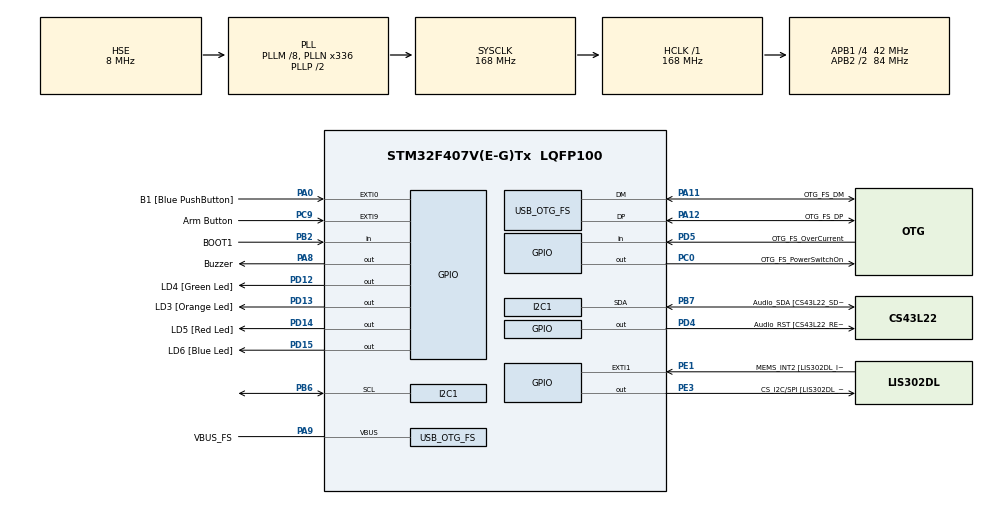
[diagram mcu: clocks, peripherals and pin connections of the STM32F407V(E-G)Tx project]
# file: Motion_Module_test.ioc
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Mcu.Family=STM32F4
Mcu.Name=STM32F407V(E-G)Tx
Mcu.Package=LQFP100
NVIC.EXTI9_5_IRQn=true\:0\:0\:false\:false\:true\:true\:true\:true
NVIC.I2C1_EV_IRQn=true\:0\:0\:false\:false\:true\:true\:true\:true
NVIC.OTG_FS_IRQn=true\:0\:0\:false\:false\:true\:true\:true\:true
NVIC.PriorityGroup=NVIC_PRIORITYGROUP_0
NVIC.TIM2_IRQn=true\:0\:0\:false\:false\:true\:true\:true\:true
PA0-WKUP.GPIO_Label=B1 [Blue PushButton]
PA0-WKUP.GPIO_ModeDefaultEXTI=GPIO_MODE_EVT_RISING
PA0-WKUP.GPIO_PuPd=GPIO_NOPULL
PA0-WKUP.Signal=GPXTI0
PA10.GPIO_Label=OTG_FS_ID
PA10.GPIO_Mode=GPIO_MODE_AF_PP
PA10.GPIO_PuPd=GPIO_NOPULL
PA10.GPIO_Speed=GPIO_SPEED_FREQ_LOW
PA10.Signal=USB_OTG_FS_ID
PA11.GPIO_Label=OTG_FS_DM
PA11.GPIO_Mode=GPIO_MODE_AF_PP
PA11.GPIO_PuPd=GPIO_NOPULL
PA11.GPIO_Speed=GPIO_SPEED_FREQ_LOW
PA11.Mode=Host_Only
PA11.Signal=USB_OTG_FS_DM
PA12.GPIO_Label=OTG_FS_DP
PA12.GPIO_Mode=GPIO_MODE_AF_PP
PA12.GPIO_PuPd=GPIO_NOPULL
PA12.GPIO_Speed=GPIO_SPEED_FREQ_LOW
PA12.Mode=Host_Only
PA12.Signal=USB_OTG_FS_DP
PA13.GPIO_Label=SWDIO
PA13.Mode=Serial_Wire
PA13.Signal=SYS_JTMS-SWDIO
PA14.GPIO_Label=SWCLK
PA14.Mode=Serial_Wire
PA14.Signal=SYS_JTCK-SWCLK
PA4.GPIO_Label=I2S3_WS [CS43L22_LRCK]
PA4.GPIO_Mode=GPIO_MODE_AF_PP
PA4.GPIO_PuPd=GPIO_NOPULL
PA4.GPIO_Speed=GPIO_SPEED_FREQ_LOW
PA4.Signal=I2S3_WS
PA5.GPIO_Label=SPI1_SCK [LIS302DL_SCL/SPC]
PA5.GPIO_Mode=GPIO_MODE_AF_PP
PA5.GPIO_PuPd=GPIO_NOPULL
PA5.GPIO_Speed=GPIO_SPEED_FREQ_LOW
PA5.Signal=SPI1_SCK
PA6.GPIO_Label=SPI1_MISO [LIS302DL_SDO]
PA6.GPIO_Mode=GPIO_MODE_AF_PP
PA6.GPIO_PuPd=GPIO_NOPULL
PA6.GPIO_Speed=GPIO_SPEED_FREQ_LOW
PA6.Signal=SPI1_MISO
PA7.GPIO_Label=SPI1_MOSI [LIS302DL_SDA/SDI/SDO]
PA7.GPIO_Mode=GPIO_MODE_AF_PP
PA7.GPIO_PuPd=GPIO_NOPULL
PA7.GPIO_Speed=GPIO_SPEED_FREQ_LOW
PA7.Signal=SPI1_MOSI
PA8.GPIO_Label=Buzzer
PA8.Signal=GPIO_Output
PA9.GPIO_Label=VBUS_FS
PA9.GPIO_Mode=GPIO_MODE_INPUT
PA9.GPIO_PuPd=GPIO_NOPULL
PA9.Mode=Activate_VBUS
PA9.Signal=USB_OTG_FS_VBUS
PB10.GPIO_Label=CLK_IN [MP45DT02_CLK]
PB10.GPIO_Mode=GPIO_MODE_AF_PP
PB10.GPIO_PuPd=GPIO_NOPULL
PB10.GPIO_Speed=GPIO_SPEED_FREQ_LOW
PB10.Signal=I2S2_CK
PB2.GPIO_Label=BOOT1
PB2.GPIO_Mode=GPIO_MODE_INPUT
PB2.GPIO_PuPd=GPIO_NOPULL
PB2.Signal=GPIO_Input
PB3.GPIO_Label=SWO
PB3.Signal=SYS_JTDO-SWO
PB6.Mode=I2C
PB6.Signal=I2C1_SCL
PB7.GPIO_Label=Audio_SDA [CS43L22_SDA]
PB7.GPIO_Mode=GPIO_MODE_AF_OD
PB7.GPIO_Pu=GPIO_PULLUP
PB7.GPIO_Speed=GPIO_SPEED_FREQ_LOW
PB7.Mode=I2C
PB7.Signal=I2C1_SDA
PC0.GPIO_Label=OTG_FS_PowerSwitchOn
PC0.GPIO_PuPd=GPIO_NOPULL
PC0.GPIO_Speed=GPIO_SPEED_FREQ_LOW
PC0.PinState=GPIO_PIN_SET
PC0.Signal=GPIO_Output
PC10.GPIO_Label=I2S3_SCK [CS43L22_SCLK]
PC10.GPIO_Mode=GPIO_MODE_AF_PP
PC10.GPIO_PuPd=GPIO_NOPULL
PC10.GPIO_Speed=GPIO_SPEED_FREQ_LOW
PC10.Signal=I2S3_CK
PC12.GPIO_Label=I2S3_SD [CS43L22_SDIN]
PC12.GPIO_Mode=GPIO_MODE_AF_PP
PC12.GPIO_PuPd=GPIO_NOPULL
PC12.GPIO_Speed=GPIO_SPEED_FREQ_LOW
PC12.Signal=I2S3_SD
PC14-OSC32_IN.GPIO_Label=PC14-OSC32_IN
PC14-OSC32_IN.Mode=LSE-External-Oscillator
PC14-OSC32_IN.Signal=RCC_OSC32_IN
PC15-OSC32_OUT.GPIO_Label=PC15-OSC32_OUT
PC15-OSC32_OUT.Mode=LSE-External-Oscillator
PC15-OSC32_OUT.Signal=RCC_OSC32_OUT
PC3.GPIO_Label=PDM_OUT [MP45DT02_DOUT]
PC3.GPIO_Mode=GPIO_MODE_AF_PP
PC3.GPIO_PuPd=GPIO_NOPULL
PC3.GPIO_Speed=GPIO_SPEED_FREQ_LOW
PC3.Signal=I2S2_SD
PC7.GPIO_Label=I2S3_MCK [CS43L22_MCLK]
PC7.GPIO_Mode=GPIO_MODE_AF_PP
PC7.GPIO_PuPd=GPIO_NOPULL
PC7.GPIO_Speed=GPIO_SPEED_FREQ_LOW
PC7.Signal=I2S3_MCK
PC9.GPIO_Label=Arm Button
PC9.Signal=GPXTI9
PD12.GPIO_Label=LD4 [Green Led]
PD12.GPIO_PuPd=GPIO_NOPULL
PD12.GPIO_Speed=GPIO_SPEED_FREQ_LOW
PD12.Signal=GPIO_Output
PD13.GPIO_Label=LD3 [Orange Led]
PD13.GPIO_PuPd=GPIO_NOPULL
PD13.GPIO_Speed=GPIO_SPEED_FREQ_LOW
PD13.Signal=GPIO_Output
PD14.GPIO_Label=LD5 [Red Led]
PD14.GPIO_PuPd=GPIO_NOPULL
PD14.GPIO_Speed=GPIO_SPEED_FREQ_LOW
PD14.Signal=GPIO_Output
PD15.GPIO_Label=LD6 [Blue Led]
PD15.GPIO_PuPd=GPIO_NOPULL
PD15.GPIO_Speed=GPIO_SPEED_FREQ_LOW
PD15.Signal=GPIO_Output
PD4.GPIO_Label=Audio_RST [CS43L22_RESET]
PD4.GPIO_PuPd=GPIO_NOPULL
PD4.GPIO_Speed=GPIO_SPEED_FREQ_LOW
PD4.Signal=GPIO_Output
PD5.GPIO_Label=OTG_FS_OverCurrent
PD5.GPIO_Mode=GPIO_MODE_INPUT
PD5.GPIO_PuPd=GPIO_NOPULL
PD5.Signal=GPIO_Input
PE1.GPIO_Label=MEMS_INT2 [LIS302DL_INT2]
PE1.GPIO_ModeDefaultEXTI=GPIO_MODE_EVT_RISING
PE1.GPIO_PuPd=GPIO_NOPULL
PE1.Signal=GPXTI1
PE3.GPIO_Label=CS_I2C/SPI [LIS302DL_CS_I2C/SPI]
PE3.GPIO_PuPd=GPIO_NOPULL
PE3.GPIO_Speed=GPIO_SPEED_FREQ_LOW
PE3.Signal=GPIO_Output
PH0-OSC_IN.GPIO_Label=PH0-OSC_IN
PH0-OSC_IN.Mode=HSE-External-Oscillator
PH0-OSC_IN.Signal=RCC_OSC_IN
PH1-OSC_OUT.GPIO_Label=PH1-OSC_OUT
PH1-OSC_OUT.Mode=HSE-External-Oscillator
PH1-OSC_OUT.Signal=RCC_OSC_OUT
ProjectManager.HeapSize=0x200
ProjectManager.StackSize=0x400
ProjectManager.TargetToolchain=STM32CubeIDE
RCC.48MHZClocksFreq_Value=48000000
RCC.AHBFreq_Value=168000000
RCC.APB1CLKDivider=RCC_HCLK_DIV4
RCC.APB1Freq_Value=42000000
RCC.APB1TimFreq_Value=84000000
RCC.APB2CLKDivider=RCC_HCLK_DIV2
RCC.APB2Freq_Value=84000000
RCC.APB2TimFreq_Value=168000000
RCC.CortexFreq_Value=168000000
RCC.HCLKFreq_Value=168000000
RCC.HSE_VALUE=8000000
RCC.HSI_VALUE=16000000
RCC.PLLM=8
RCC.PLLN=336
RCC.PLLQ=7
RCC.SYSCLKFreq_VALUE=168000000
RCC.SYSCLKSource=RCC_SYSCLKSOURCE_PLLCLK
RCC.VCOOutputFreq_Value=336000000
TIM2.AutoReloadPreload=TIM_AUTORELOAD_PRELOAD_DISABLE
TIM2.Period=7200
TIM2.Prescaler=1000
USB_HOST.BSP.number=1
USB_HOST.USBH_HandleTypeDef-CDC_FS=hUsbHostFS
USB_HOST.VirtualModeFS=Cdc
USB_HOST0.BSP.STBoard=false
USB_HOST0.BSP.api=Unknown
USB_HOST0.BSP.instance=PC0
USB_HOST0.BSP.ip=GPIO
USB_HOST0.BSP.mode=Output
USB_HOST0.BSP.name=Drive_VBUS_FS
USB_HOST0.BSP.solution=PC0
USB_OTG_FS.VirtualMode=Host_Only
USB_OTG_FS.phy_itface=HCD_PHY_EMBEDDED
VP_TIM2_VS_ClockSourceINT.Mode=Internal
VP_USB_HOST_VS_USB_HOST_CDC_FS.Mode=CDC_FS
board=STM32F407G-DISC1

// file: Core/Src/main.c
/* USER CODE BEGIN Header */
/**
  ******************************************************************************
  * @file           : main.c
  * @brief          : Main program body
  ******************************************************************************
  * @attention
  *
  * Copyright (c) 2023 STMicroelectronics.
  * All rights reserved.
  *
  * This software is licensed under terms that can be found in the LICENSE file
  * in the root directory of this software component.
  * If no LICENSE file comes with this software, it is provided AS-IS.
  *
  ******************************************************************************
  */
/* USER CODE END Header */
#include "main.h"
#include "usb_host.h"

/* USER CODE BEGIN Includes */
#include "TJ_MPU6050.h"
/* USER CODE END Includes */

/* USER CODE BEGIN PD */
#define BUFFSIZE 7
/* USER CODE END PD */

I2C_HandleTypeDef hi2c1;

TIM_HandleTypeDef htim2;

/* USER CODE BEGIN PV */
volatile int gArmFlag=0;
float gXAccelData;
float gYAccelData;
float gZAccelData;
float gTempXAccelData;
float gTempYAccelData;
float gTempZAccelData;
/* USER CODE END PV */

void SystemClock_Config(void);
static void MX_GPIO_Init(void);
static void MX_I2C1_Init(void);
static void MX_TIM2_Init(void);
void MX_USB_HOST_Process(void);

/* USER CODE BEGIN PFP */
void getAccelAverage(void);
int AccelDataEqual(void);
/* USER CODE END PFP */

/* USER CODE BEGIN 0 */
RawData_Def myAccelRaw, myGyroRaw;
ScaledData_Def myAccelScaled, myGyroScaled;
/* USER CODE END 0 */

int main(void)
{
  /* USER CODE BEGIN 1 */
	MPU_ConfigTypeDef myMpuConfig;
  /* USER CODE END 1 */

  /* MCU Configuration--------------------------------------------------------*/

  /* Reset of all peripherals, Initializes the Flash interface and the Systick. */
  HAL_Init();

  /* Configure the system clock */
  SystemClock_Config();

  /* Initialize all configured peripherals */
  MX_GPIO_Init();
  MX_I2C1_Init();
  MX_USB_HOST_Init();
  MX_TIM2_Init();
  /* USER CODE BEGIN 2 */
  HAL_TIM_Base_Start_IT(&htim2);
	MPU6050_Init(&hi2c1);
	//2. Configure Accel and Gyro parameters
	myMpuConfig.Accel_Full_Scale = AFS_SEL_2g;
	myMpuConfig.ClockSource = Internal_8MHz;
	myMpuConfig.CONFIG_DLPF = DLPF_184A_188G_Hz;
	myMpuConfig.Gyro_Full_Scale = FS_SEL_500;
	myMpuConfig.Sleep_Mode_Bit = 0;  //1: sleep mode, 0: normal mode
	MPU6050_Config(&myMpuConfig);
  /* USER CODE END 2 */

  /* Infinite loop */
	while(1){
  /* USER CODE BEGIN WHILE */
	  // getAccelAverage();
	  if(gArmFlag==1){
	    getAccelAverage();
	    	if(!AccelDataEqual()){
    		HAL_GPIO_TogglePin(GPIOD, LD4_Pin);
	    		gArmFlag=0;
	    		gXAccelData=0;
	    		gYAccelData=0;
	    		gZAccelData=0;
	    		gTempXAccelData=0;
	    		gTempYAccelData=0;
	    		gTempZAccelData=0;
	    		HAL_Delay(5000);
	    		HAL_GPIO_TogglePin(GPIOD, LD4_Pin);
	    	}
	}
    /* USER CODE END WHILE */
   // MX_USB_HOST_Process();

    /* USER CODE BEGIN 3 */
//  }
  /* USER CODE END 3 */
}
}

void SystemClock_Config(void)
{
  RCC_OscInitTypeDef RCC_OscInitStruct = {0};
  RCC_ClkInitTypeDef RCC_ClkInitStruct = {0};

  /** Configure the main internal regulator output voltage
  */
  __HAL_RCC_PWR_CLK_ENABLE();
  __HAL_PWR_VOLTAGESCALING_CONFIG(PWR_REGULATOR_VOLTAGE_SCALE1);

  /** Initializes the RCC Oscillators according to the specified parameters
  * in the RCC_OscInitTypeDef structure.
  */
  RCC_OscInitStruct.OscillatorType = RCC_OSCILLATORTYPE_HSE;
  RCC_OscInitStruct.HSEState = RCC_HSE_ON;
  RCC_OscInitStruct.PLL.PLLState = RCC_PLL_ON;
  RCC_OscInitStruct.PLL.PLLSource = RCC_PLLSOURCE_HSE;
  RCC_OscInitStruct.PLL.PLLM = 8;
  RCC_OscInitStruct.PLL.PLLN = 336;
  RCC_OscInitStruct.PLL.PLLP = RCC_PLLP_DIV2;
  RCC_OscInitStruct.PLL.PLLQ = 7;
  if (HAL_RCC_OscConfig(&RCC_OscInitStruct) != HAL_OK)
  {
    Error_Handler();
  }

  /** Initializes the CPU, AHB and APB buses clocks
  */
  RCC_ClkInitStruct.ClockType = RCC_CLOCKTYPE_HCLK|RCC_CLOCKTYPE_SYSCLK
                              |RCC_CLOCKTYPE_PCLK1|RCC_CLOCKTYPE_PCLK2;
  RCC_ClkInitStruct.SYSCLKSource = RCC_SYSCLKSOURCE_PLLCLK;
  RCC_ClkInitStruct.AHBCLKDivider = RCC_SYSCLK_DIV1;
  RCC_ClkInitStruct.APB1CLKDivider = RCC_HCLK_DIV4;
  RCC_ClkInitStruct.APB2CLKDivider = RCC_HCLK_DIV2;

  if (HAL_RCC_ClockConfig(&RCC_ClkInitStruct, FLASH_LATENCY_5) != HAL_OK)
  {
    Error_Handler();
  }
}

static void MX_I2C1_Init(void)
{

  hi2c1.Instance = I2C1;
  hi2c1.Init.ClockSpeed = 100000;
  hi2c1.Init.DutyCycle = I2C_DUTYCYCLE_2;
  hi2c1.Init.OwnAddress1 = 0;
  hi2c1.Init.AddressingMode = I2C_ADDRESSINGMODE_7BIT;
  hi2c1.Init.DualAddressMode = I2C_DUALADDRESS_DISABLE;
  hi2c1.Init.OwnAddress2 = 0;
  hi2c1.Init.GeneralCallMode = I2C_GENERALCALL_DISABLE;
  hi2c1.Init.NoStretchMode = I2C_NOSTRETCH_DISABLE;
  if (HAL_I2C_Init(&hi2c1) != HAL_OK)
  {
    Error_Handler();
  }

}

static void MX_TIM2_Init(void)
{

  TIM_ClockConfigTypeDef sClockSourceConfig = {0};
  TIM_MasterConfigTypeDef sMasterConfig = {0};

  htim2.Instance = TIM2;
  htim2.Init.Prescaler = 1000;
  htim2.Init.CounterMode = TIM_COUNTERMODE_UP;
  htim2.Init.Period = 7200;
  htim2.Init.ClockDivision = TIM_CLOCKDIVISION_DIV1;
  htim2.Init.AutoReloadPreload = TIM_AUTORELOAD_PRELOAD_DISABLE;
  if (HAL_TIM_Base_Init(&htim2) != HAL_OK)
  {
    Error_Handler();
  }
  sClockSourceConfig.ClockSource = TIM_CLOCKSOURCE_INTERNAL;
  if (HAL_TIM_ConfigClockSource(&htim2, &sClockSourceConfig) != HAL_OK)
  {
    Error_Handler();
  }
  sMasterConfig.MasterOutputTrigger = TIM_TRGO_RESET;
  sMasterConfig.MasterSlaveMode = TIM_MASTERSLAVEMODE_DISABLE;
  if (HAL_TIMEx_MasterConfigSynchronization(&htim2, &sMasterConfig) != HAL_OK)
  {
    Error_Handler();
  }

}

static void MX_GPIO_Init(void)
{
  GPIO_InitTypeDef GPIO_InitStruct = {0};

  /* GPIO Ports Clock Enable */
  __HAL_RCC_GPIOE_CLK_ENABLE();
  __HAL_RCC_GPIOC_CLK_ENABLE();
  __HAL_RCC_GPIOH_CLK_ENABLE();
  __HAL_RCC_GPIOA_CLK_ENABLE();
  __HAL_RCC_GPIOB_CLK_ENABLE();
  __HAL_RCC_GPIOD_CLK_ENABLE();

  /*Configure GPIO pin Output Level */
  HAL_GPIO_WritePin(CS_I2C_SPI_GPIO_Port, CS_I2C_SPI_Pin, GPIO_PIN_RESET);

  /*Configure GPIO pin Output Level */
  HAL_GPIO_WritePin(OTG_FS_PowerSwitchOn_GPIO_Port, OTG_FS_PowerSwitchOn_Pin, GPIO_PIN_SET);

  /*Configure GPIO pin Output Level */
  HAL_GPIO_WritePin(GPIOD, LD4_Pin|LD3_Pin|LD5_Pin|LD6_Pin
                          |Audio_RST_Pin, GPIO_PIN_RESET);

  /*Configure GPIO pin Output Level */
  HAL_GPIO_WritePin(Buzzer_GPIO_Port, Buzzer_Pin, GPIO_PIN_RESET);

  /*Configure GPIO pin : CS_I2C_SPI_Pin */
  GPIO_InitStruct.Pin = CS_I2C_SPI_Pin;
  GPIO_InitStruct.Mode = GPIO_MODE_OUTPUT_PP;
  GPIO_InitStruct.Pull = GPIO_NOPULL;
  GPIO_InitStruct.Speed = GPIO_SPEED_FREQ_LOW;
  HAL_GPIO_Init(CS_I2C_SPI_GPIO_Port, &GPIO_InitStruct);

  /*Configure GPIO pin : OTG_FS_PowerSwitchOn_Pin */
  GPIO_InitStruct.Pin = OTG_FS_PowerSwitchOn_Pin;
  GPIO_InitStruct.Mode = GPIO_MODE_OUTPUT_PP;
  GPIO_InitStruct.Pull = GPIO_NOPULL;
  GPIO_InitStruct.Speed = GPIO_SPEED_FREQ_LOW;
  HAL_GPIO_Init(OTG_FS_PowerSwitchOn_GPIO_Port, &GPIO_InitStruct);

  /*Configure GPIO pin : PDM_OUT_Pin */
  GPIO_InitStruct.Pin = PDM_OUT_Pin;
  GPIO_InitStruct.Mode = GPIO_MODE_AF_PP;
  GPIO_InitStruct.Pull = GPIO_NOPULL;
  GPIO_InitStruct.Speed = GPIO_SPEED_FREQ_LOW;
  GPIO_InitStruct.Alternate = GPIO_AF5_SPI2;
  HAL_GPIO_Init(PDM_OUT_GPIO_Port, &GPIO_InitStruct);

  /*Configure GPIO pin : B1_Pin */
  GPIO_InitStruct.Pin = B1_Pin;
  GPIO_InitStruct.Mode = GPIO_MODE_EVT_RISING;
  GPIO_InitStruct.Pull = GPIO_NOPULL;
  HAL_GPIO_Init(B1_GPIO_Port, &GPIO_InitStruct);

  /*Configure GPIO pin : I2S3_WS_Pin */
  GPIO_InitStruct.Pin = I2S3_WS_Pin;
  GPIO_InitStruct.Mode = GPIO_MODE_AF_PP;
  GPIO_InitStruct.Pull = GPIO_NOPULL;
  GPIO_InitStruct.Speed = GPIO_SPEED_FREQ_LOW;
  GPIO_InitStruct.Alternate = GPIO_AF6_SPI3;
  HAL_GPIO_Init(I2S3_WS_GPIO_Port, &GPIO_InitStruct);

  /*Configure GPIO pins : SPI1_SCK_Pin SPI1_MISO_Pin SPI1_MOSI_Pin */
  GPIO_InitStruct.Pin = SPI1_SCK_Pin|SPI1_MISO_Pin|SPI1_MOSI_Pin;
  GPIO_InitStruct.Mode = GPIO_MODE_AF_PP;
  GPIO_InitStruct.Pull = GPIO_NOPULL;
  GPIO_InitStruct.Speed = GPIO_SPEED_FREQ_LOW;
  GPIO_InitStruct.Alternate = GPIO_AF5_SPI1;
  HAL_GPIO_Init(GPIOA, &GPIO_InitStruct);

  /*Configure GPIO pin : BOOT1_Pin */
  GPIO_InitStruct.Pin = BOOT1_Pin;
  GPIO_InitStruct.Mode = GPIO_MODE_INPUT;
  GPIO_InitStruct.Pull = GPIO_NOPULL;
  HAL_GPIO_Init(BOOT1_GPIO_Port, &GPIO_InitStruct);

  /*Configure GPIO pin : CLK_IN_Pin */
  GPIO_InitStruct.Pin = CLK_IN_Pin;
  GPIO_InitStruct.Mode = GPIO_MODE_AF_PP;
  GPIO_InitStruct.Pull = GPIO_NOPULL;
  GPIO_InitStruct.Speed = GPIO_SPEED_FREQ_LOW;
  GPIO_InitStruct.Alternate = GPIO_AF5_SPI2;
  HAL_GPIO_Init(CLK_IN_GPIO_Port, &GPIO_InitStruct);

  /*Configure GPIO pins : LD4_Pin LD3_Pin LD5_Pin LD6_Pin
                           Audio_RST_Pin */
  GPIO_InitStruct.Pin = LD4_Pin|LD3_Pin|LD5_Pin|LD6_Pin
                          |Audio_RST_Pin;
  GPIO_InitStruct.Mode = GPIO_MODE_OUTPUT_PP;
  GPIO_InitStruct.Pull = GPIO_NOPULL;
  GPIO_InitStruct.Speed = GPIO_SPEED_FREQ_LOW;
  HAL_GPIO_Init(GPIOD, &GPIO_InitStruct);

  /*Configure GPIO pins : I2S3_MCK_Pin I2S3_SCK_Pin I2S3_SD_Pin */
  GPIO_InitStruct.Pin = I2S3_MCK_Pin|I2S3_SCK_Pin|I2S3_SD_Pin;
  GPIO_InitStruct.Mode = GPIO_MODE_AF_PP;
  GPIO_InitStruct.Pull = GPIO_NOPULL;
  GPIO_InitStruct.Speed = GPIO_SPEED_FREQ_LOW;
  GPIO_InitStruct.Alternate = GPIO_AF6_SPI3;
  HAL_GPIO_Init(GPIOC, &GPIO_InitStruct);

  /*Configure GPIO pin : Arm_Button_Pin */
  GPIO_InitStruct.Pin = Arm_Button_Pin;
  GPIO_InitStruct.Mode = GPIO_MODE_IT_RISING;
  GPIO_InitStruct.Pull = GPIO_NOPULL;
  HAL_GPIO_Init(Arm_Button_GPIO_Port, &GPIO_InitStruct);

  /*Configure GPIO pin : Buzzer_Pin */
  GPIO_InitStruct.Pin = Buzzer_Pin;
  GPIO_InitStruct.Mode = GPIO_MODE_OUTPUT_PP;
  GPIO_InitStruct.Pull = GPIO_NOPULL;
  GPIO_InitStruct.Speed = GPIO_SPEED_FREQ_LOW;
  HAL_GPIO_Init(Buzzer_GPIO_Port, &GPIO_InitStruct);

  /*Configure GPIO pin : OTG_FS_OverCurrent_Pin */
  GPIO_InitStruct.Pin = OTG_FS_OverCurrent_Pin;
  GPIO_InitStruct.Mode = GPIO_MODE_INPUT;
  GPIO_InitStruct.Pull = GPIO_NOPULL;
  HAL_GPIO_Init(OTG_FS_OverCurrent_GPIO_Port, &GPIO_InitStruct);

  /*Configure GPIO pin : MEMS_INT2_Pin */
  GPIO_InitStruct.Pin = MEMS_INT2_Pin;
  GPIO_InitStruct.Mode = GPIO_MODE_EVT_RISING;
  GPIO_InitStruct.Pull = GPIO_NOPULL;
  HAL_GPIO_Init(MEMS_INT2_GPIO_Port, &GPIO_InitStruct);

  /* EXTI interrupt init*/
  HAL_NVIC_SetPriority(EXTI9_5_IRQn, 0, 0);
  HAL_NVIC_EnableIRQ(EXTI9_5_IRQn);

}

/* USER CODE BEGIN 4 */
//void HAL_TIM_PeriodElapsedCallback(TIM_HandleTypeDef* htim)
//{
//
//	//HAL_I2C_Slave_Receive(&hi2c1, gMotionData, 3, 1);
////	if(&gMotionData[0]!=NULL){
////    HAL_GPIO_TogglePin(GPIOD, GPIO_PIN_15);//LED Test
////	}
//    if(gArmFlag==1){
//    	unsigned char tempMotionData[5];
//    	for(int i = 0; i <6; i++){
//    		tempMotionData[i] = gMotionData[i];
//    	}
//    	HAL_I2C_Slave_Receive_IT (&hi2c1, gMotionData, 6);
//    	if(gCompareMotionDataFlag==1){
//    		gCompareMotionDataFlag =0;
//    		if(tempMotionData != gMotionData){
//    			gArmFlag=0;
//    			HAL_GPIO_TogglePin(GPIOA, GPIO_PIN_8);
//    			HAL_Delay(10000);
//    		}
//    	}
//    }
//
//
//}

void getAccelAverage(){
	gTempXAccelData = gXAccelData;
	gTempYAccelData = gYAccelData;
	gTempZAccelData = gZAccelData;
	gXAccelData = 0;
	gYAccelData = 0;
	gZAccelData = 0;
	for(int i = 0; i < BUFFSIZE; i++){
		MPU6050_Get_Accel_Scale(&myAccelScaled);
		gXAccelData += myAccelScaled.x;
		gYAccelData += myAccelScaled.y;
		gZAccelData += myAccelScaled.z;
		HAL_Delay(10);
	}
	gXAccelData /= BUFFSIZE;
	gYAccelData /= BUFFSIZE;
	gZAccelData /= BUFFSIZE;
}

int AccelDataEqual(){
	char result = 1;

	if((abs(abs(gTempYAccelData)-abs(gYAccelData))>=200) && ((gTempXAccelData !=0)&& (gTempYAccelData !=0) && (gTempZAccelData !=0))){
		result =  0;
	}else{
		result = 1;
	}

	return result;
}

void HAL_GPIO_EXTI_Callback(uint16_t GPIO_Pin)
{
    if(GPIO_Pin == Arm_Button_Pin) // If The INT Source Is EXTI Line9 (A9 Pin)
    {
    	gArmFlag = 1;
    }
}

//void HAL_I2C_SlaveRxCpltCallback (I2C_HandleTypeDef * hi2c)
//{
//  gCompareMotionDataFlag = 1;
//}
/* USER CODE END 4 */

void Error_Handler(void)
{
}
